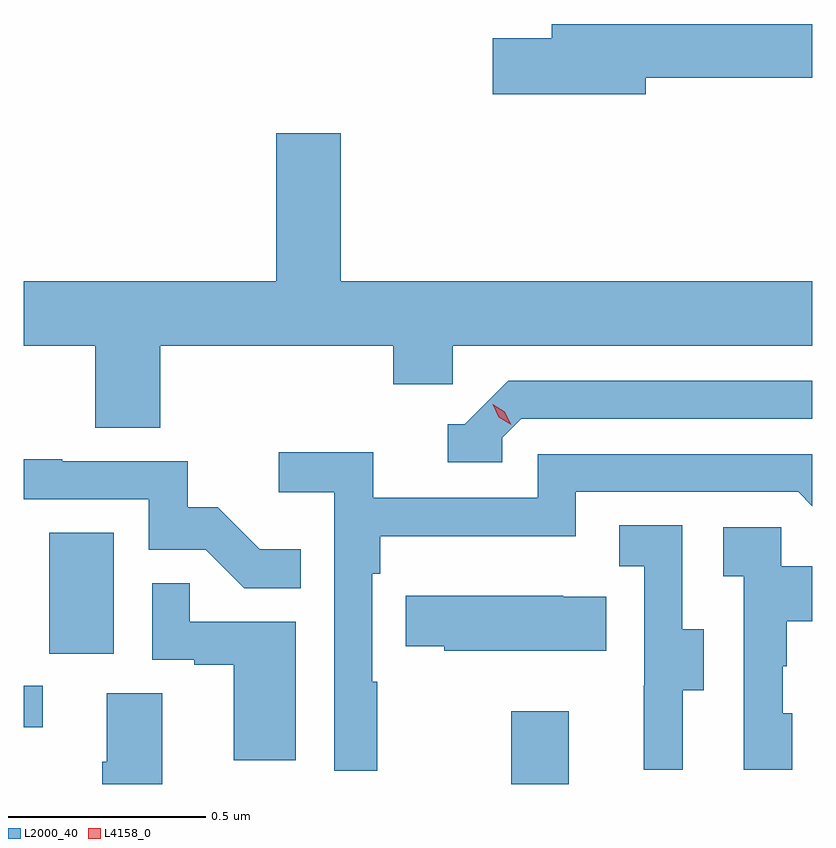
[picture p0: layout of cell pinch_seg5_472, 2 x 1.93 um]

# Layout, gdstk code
import gdstk
lib = gdstk.Library(unit=1e-6, precision=1e-09)
def R(c, l, rs):  # rectangles x0, y0, x1, y1
    for r in rs: c.add(gdstk.rectangle(r[:2], r[2:], *l))
def P(c, l, *ps):  # polygons
    for p in ps: c.add(gdstk.Polygon(p, *l))
L2000_40 = (2000, 40)
L4158_0 = (4158, 0)

pinch_seg5_472 = lib.new_cell('pinch_seg5_472')
R(pinch_seg5_472, L2000_40, [(908.86,859.644,909.007,859.828), (907.624,859.788,907.672,859.893), (907.688,859.974,907.852,860.281)])
P(pinch_seg5_472, L2000_40, [(909.202,861.436),(909.624,861.436),(909.624,861.572),(908.963,861.572),(908.963,861.536),(908.814,861.536),(908.814,861.394),(909.202,861.394)],
  [(907.97,860.756),(908.561,860.756),(908.561,860.658),(908.712,860.658),(908.712,860.756),(909.624,860.756),(909.624,860.92),(908.428,860.92),(908.428,861.295),(908.264,861.295),(908.264,860.92),(907.624,860.92),(907.624,860.756),(907.805,860.756),(907.805,860.548),(907.97,860.548)],
  [(908.838,860.523),(908.886,860.571),(909.624,860.571),(909.624,860.667),(908.853,860.667),(908.742,860.556),(908.699,860.556),(908.699,860.46),(908.838,860.46)],
  [(908.521,859.904),(908.508,859.904),(908.508,860.177),(908.528,860.177),(908.528,860.273),(909.024,860.273),(909.024,860.385),(909.588,860.385),(909.624,860.349),(909.624,860.481),(908.928,860.481),(908.928,860.37),(908.51,860.37),(908.51,860.486),(908.271,860.486),(908.271,860.384),(908.412,860.384),(908.412,859.677),(908.521,859.677)],
  [(908.327,860.239),(908.223,860.239),(908.116,860.346),(908.04,860.346),(908.04,860.463),(907.721,860.463),(907.721,860.468),(907.624,860.468),(907.624,860.367),(907.941,860.367),(907.941,860.238),(908.085,860.238),(908.183,860.14),(908.327,860.14)],
  [(909.295,859.882),(909.349,859.882),(909.349,860.037),(909.294,860.037),(909.294,860.3),(909.135,860.3),(909.135,860.197),(909.198,860.197),(909.198,859.893),(909.197,859.893),(909.197,859.68),(909.295,859.68)],
  [(909.574,859.824),(909.549,859.824),(909.549,859.943),(909.559,859.943),(909.559,860.057),(909.624,860.057),(909.624,860.197),(909.546,860.197),(909.546,860.295),(909.399,860.295),(909.399,860.171),(909.45,860.171),(909.45,859.68),(909.574,859.68)],
  [(908.314,860.055),(908.045,860.055),(908.045,860.153),(907.95,860.153),(907.95,859.959),(908.057,859.959),(908.057,859.947),(908.156,859.947),(908.156,859.704),(908.314,859.704)],
  [(909.101,860.119),(908.993,860.119),(908.993,860.122),(908.593,860.122),(908.593,859.993),(908.691,859.993),(908.691,859.982),(909.101,859.982)],
  [(907.975,859.874),(907.835,859.874),(907.835,859.7),(907.823,859.7),(907.823,859.644),(907.975,859.644)])
P(pinch_seg5_472, L4158_0, [(908.86,860.555),(908.829,860.575),(908.813,860.608),(908.813,860.608),(908.814,860.608),(908.844,860.588),(908.86,860.555),(908.86,860.555)])

lib.write_gds('pinch_seg5_472.gds')
